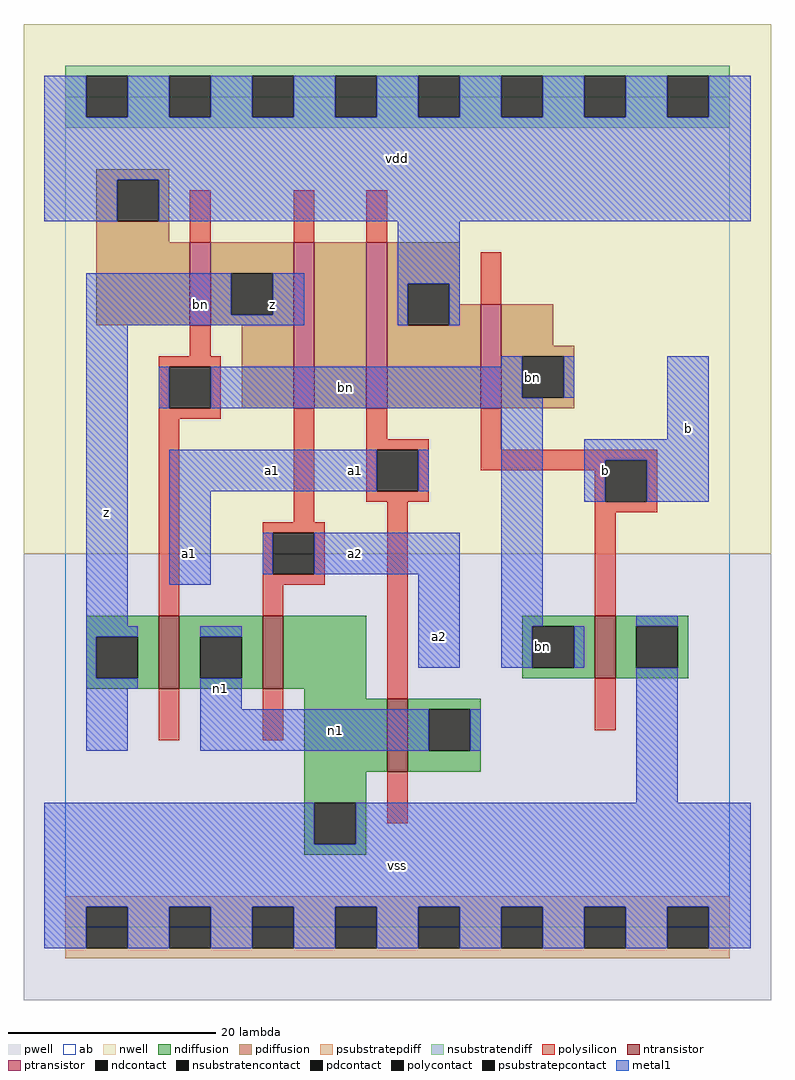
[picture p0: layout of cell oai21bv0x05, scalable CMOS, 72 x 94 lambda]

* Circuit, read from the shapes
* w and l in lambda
.subckt oai21bv0x05 a1 a2 b bn n1 vdd vss z
M1 n1 bn z vss nfet w=7 l=2
M2 vss a2 n1 vss nfet w=7 l=2
M3 n1 a1 vss vss nfet w=7 l=2
M4 vss b bn vss nfet w=6 l=2
M5 z bn vdd vdd pfet w=8 l=2
M6 n2 a2 z vdd pfet w=16 l=2
M7 vdd a1 n2 vdd pfet w=16 l=2
M8 bn b vdd vdd pfet w=10 l=2
.ends

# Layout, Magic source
magic
tech scmos
<< ab >>
rect 0 0 64 80
<< pwell >>
rect -4 -7 68 36
<< nwell >>
rect -4 36 68 87
<< polysilicon >>
rect 12 66 14 71
rect 22 66 24 71
rect 29 66 31 71
rect 12 55 14 58
rect 9 54 15 55
rect 9 50 10 54
rect 14 50 15 54
rect 40 60 42 65
rect 9 49 15 50
rect 9 30 11 49
rect 22 39 24 50
rect 29 47 31 50
rect 29 46 35 47
rect 29 42 30 46
rect 34 42 35 46
rect 40 46 42 50
rect 40 45 57 46
rect 40 44 52 45
rect 29 41 35 42
rect 51 41 52 44
rect 56 41 57 45
rect 19 38 25 39
rect 19 34 20 38
rect 24 34 25 38
rect 19 33 25 34
rect 19 30 21 33
rect 9 18 11 23
rect 19 18 21 23
rect 31 22 33 41
rect 51 40 57 41
rect 51 30 53 40
rect 51 19 53 24
rect 31 10 33 15
<< ndiffusion >>
rect 2 28 9 30
rect 2 24 3 28
rect 7 24 9 28
rect 2 23 9 24
rect 11 28 19 30
rect 11 24 13 28
rect 17 24 19 28
rect 11 23 19 24
rect 21 23 29 30
rect 23 22 29 23
rect 44 29 51 30
rect 44 25 45 29
rect 49 25 51 29
rect 44 24 51 25
rect 53 29 60 30
rect 53 25 55 29
rect 59 25 60 29
rect 53 24 60 25
rect 23 15 31 22
rect 33 21 40 22
rect 33 17 35 21
rect 39 17 40 21
rect 33 15 40 17
rect 23 12 29 15
rect 23 8 24 12
rect 28 8 29 12
rect 23 7 29 8
<< pdiffusion >>
rect 3 72 10 73
rect 3 68 5 72
rect 9 68 10 72
rect 3 66 10 68
rect 3 58 12 66
rect 14 63 22 66
rect 14 59 16 63
rect 20 59 22 63
rect 14 58 22 59
rect 17 50 22 58
rect 24 50 29 66
rect 31 62 38 66
rect 31 58 33 62
rect 37 60 38 62
rect 37 58 40 60
rect 31 50 40 58
rect 42 56 47 60
rect 42 55 49 56
rect 42 51 44 55
rect 48 51 49 55
rect 42 50 49 51
<< metal1 >>
rect -2 78 2 82
rect 6 78 10 82
rect 14 78 18 82
rect 22 78 26 82
rect 30 78 34 82
rect 38 78 42 82
rect 46 78 50 82
rect 54 78 58 82
rect 62 78 66 82
rect -2 72 66 78
rect -2 68 5 72
rect 9 68 66 72
rect 2 59 16 63
rect 20 59 23 63
rect 2 58 23 59
rect 32 62 38 68
rect 32 58 33 62
rect 37 58 38 62
rect 2 29 6 58
rect 42 54 44 55
rect 9 50 10 54
rect 14 51 44 54
rect 48 51 49 55
rect 14 50 46 51
rect 10 42 30 46
rect 34 42 35 46
rect 10 33 14 42
rect 19 34 20 38
rect 24 34 38 38
rect 2 28 7 29
rect 2 24 3 28
rect 2 23 7 24
rect 13 28 17 29
rect 34 25 38 34
rect 42 29 46 50
rect 58 47 62 55
rect 50 45 62 47
rect 50 41 52 45
rect 56 41 62 45
rect 55 29 59 30
rect 42 25 45 29
rect 49 25 50 29
rect 2 17 6 23
rect 13 21 17 24
rect 13 17 35 21
rect 39 17 40 21
rect 55 12 59 25
rect -2 8 24 12
rect 28 8 66 12
rect -2 2 66 8
rect -2 -2 2 2
rect 6 -2 10 2
rect 14 -2 18 2
rect 22 -2 26 2
rect 30 -2 34 2
rect 38 -2 42 2
rect 46 -2 50 2
rect 54 -2 58 2
rect 62 -2 66 2
<< ntransistor >>
rect 9 23 11 30
rect 19 23 21 30
rect 51 24 53 30
rect 31 15 33 22
<< ptransistor >>
rect 12 58 14 66
rect 22 50 24 66
rect 29 50 31 66
rect 40 50 42 60
<< polycontact >>
rect 10 50 14 54
rect 30 42 34 46
rect 52 41 56 45
rect 20 34 24 38
<< ndcontact >>
rect 3 24 7 28
rect 13 24 17 28
rect 45 25 49 29
rect 55 25 59 29
rect 35 17 39 21
rect 24 8 28 12
<< pdcontact >>
rect 5 68 9 72
rect 16 59 20 63
rect 33 58 37 62
rect 44 51 48 55
<< psubstratepcontact >>
rect 2 -2 6 2
rect 10 -2 14 2
rect 18 -2 22 2
rect 26 -2 30 2
rect 34 -2 38 2
rect 42 -2 46 2
rect 50 -2 54 2
rect 58 -2 62 2
<< nsubstratencontact >>
rect 2 78 6 82
rect 10 78 14 82
rect 18 78 22 82
rect 26 78 30 82
rect 34 78 38 82
rect 42 78 46 82
rect 50 78 54 82
rect 58 78 62 82
<< psubstratepdiff >>
rect 0 2 64 3
rect 0 -2 2 2
rect 6 -2 10 2
rect 14 -2 18 2
rect 22 -2 26 2
rect 30 -2 34 2
rect 38 -2 42 2
rect 46 -2 50 2
rect 54 -2 58 2
rect 62 -2 64 2
rect 0 -3 64 -2
<< nsubstratendiff >>
rect 0 82 64 83
rect 0 78 2 82
rect 6 78 10 82
rect 14 78 18 82
rect 22 78 26 82
rect 30 78 34 82
rect 38 78 42 82
rect 46 78 50 82
rect 54 78 58 82
rect 62 78 64 82
rect 0 77 64 78
<< labels >>
rlabel ptransistor 13 60 13 60 6 bn
rlabel metal1 4 40 4 40 6 z
rlabel metal1 15 23 15 23 6 n1
rlabel metal1 12 36 12 36 6 a1
rlabel metal1 20 44 20 44 6 a1
rlabel metal1 12 60 12 60 6 z
rlabel metal1 20 60 20 60 6 z
rlabel metal1 32 6 32 6 6 vss
rlabel metal1 36 28 36 28 6 a2
rlabel metal1 28 36 28 36 6 a2
rlabel metal1 28 44 28 44 6 a1
rlabel metal1 32 74 32 74 6 vdd
rlabel metal1 26 19 26 19 6 n1
rlabel ndcontact 46 27 46 27 6 bn
rlabel metal1 27 52 27 52 6 bn
rlabel pdcontact 45 53 45 53 6 bn
rlabel metal1 52 44 52 44 6 b
rlabel metal1 60 48 60 48 6 b
<< end >>
